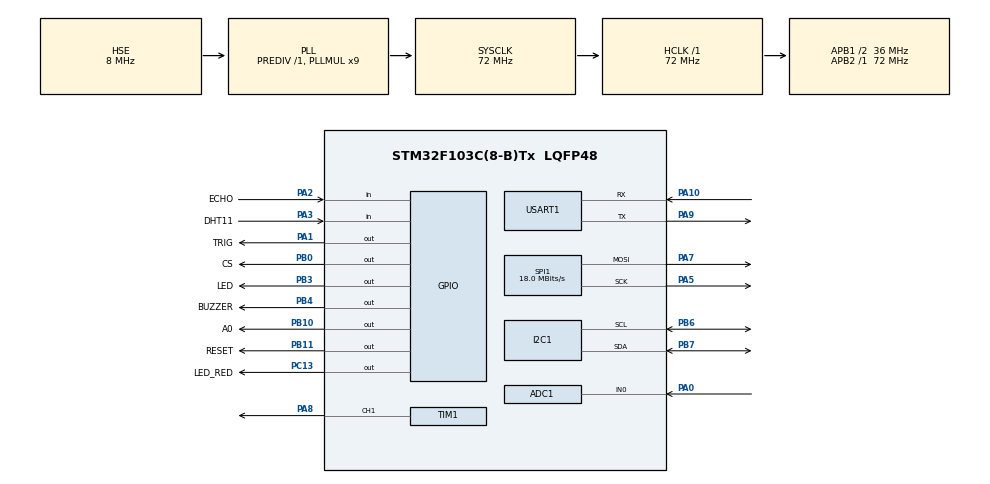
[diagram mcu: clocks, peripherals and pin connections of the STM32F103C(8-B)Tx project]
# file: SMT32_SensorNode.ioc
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ADC1.Channel-0\#ChannelRegularConversion=ADC_CHANNEL_0
ADC1.NbrOfConversionFlag=1
ADC1.Rank-0\#ChannelRegularConversion=1
ADC1.SamplingTime-0\#ChannelRegularConversion=ADC_SAMPLETIME_55CYCLES_5
ADC1.master=1
Mcu.Family=STM32F1
Mcu.Name=STM32F103C(8-B)Tx
Mcu.Package=LQFP48
NVIC.PriorityGroup=NVIC_PRIORITYGROUP_4
NVIC.TIM4_IRQn=true\:15\:0\:false\:false\:true\:false\:true\:true
NVIC.TimeBase=TIM4_IRQn
NVIC.TimeBaseIP=TIM4
PA0-WKUP.Signal=ADCx_IN0
PA1.GPIO_Label=TRIG
PA1.Signal=GPIO_Output
PA10.Mode=Asynchronous
PA10.Signal=USART1_RX
PA13.Mode=Serial_Wire
PA13.Signal=SYS_JTMS-SWDIO
PA14.Mode=Serial_Wire
PA14.Signal=SYS_JTCK-SWCLK
PA2.GPIO_Label=ECHO
PA2.Signal=GPIO_Input
PA3.GPIO_Label=DHT11
PA3.Signal=GPIO_Input
PA5.Mode=TX_Only_Simplex_Unidirect_Master
PA5.Signal=SPI1_SCK
PA7.Mode=TX_Only_Simplex_Unidirect_Master
PA7.Signal=SPI1_MOSI
PA8.Signal=S_TIM1_CH1
PA9.Mode=Asynchronous
PA9.Signal=USART1_TX
PB0.GPIO_Label=CS
PB0.Signal=GPIO_Output
PB10.GPIO_Label=A0
PB10.Signal=GPIO_Output
PB11.GPIO_Label=RESET
PB11.Signal=GPIO_Output
PB3.GPIO_Label=LED
PB3.Signal=GPIO_Output
PB4.GPIO_Label=BUZZER
PB4.Signal=GPIO_Output
PB6.Mode=I2C
PB6.Signal=I2C1_SCL
PB7.Mode=I2C
PB7.Signal=I2C1_SDA
PC13-TAMPER-RTC.GPIO_Label=LED_RED
PC13-TAMPER-RTC.Signal=GPIO_Output
PD0-OSC_IN.Mode=HSE-External-Oscillator
PD0-OSC_IN.Signal=RCC_OSC_IN
PD1-OSC_OUT.Mode=HSE-External-Oscillator
PD1-OSC_OUT.Signal=RCC_OSC_OUT
ProjectManager.HeapSize=0x200
ProjectManager.StackSize=0x400
ProjectManager.TargetToolchain=MDK-ARM V5.32
RCC.ADCPresc=RCC_ADCPCLK2_DIV8
RCC.AHBFreq_Value=72000000
RCC.APB1CLKDivider=RCC_HCLK_DIV2
RCC.APB1Freq_Value=36000000
RCC.APB1TimFreq_Value=72000000
RCC.APB2Freq_Value=72000000
RCC.APB2TimFreq_Value=72000000
RCC.HCLKFreq_Value=72000000
RCC.PLLMUL=RCC_PLL_MUL9
RCC.PLLSourceVirtual=RCC_PLLSOURCE_HSE
RCC.SYSCLKFreq_VALUE=72000000
RCC.SYSCLKSource=RCC_SYSCLKSOURCE_PLLCLK
RCC.USBFreq_Value=72000000
SH.ADCx_IN0.0=ADC1_IN0,IN0
SH.S_TIM1_CH1.0=TIM1_CH1,PWM Generation1 CH1
SPI1.BaudRatePrescaler=SPI_BAUDRATEPRESCALER_4
SPI1.CalculateBaudRate=18.0 MBits/s
SPI1.Direction=SPI_DIRECTION_2LINES
SPI1.Mode=SPI_MODE_MASTER
SPI1.VirtualType=VM_MASTER
TIM1.Channel-PWM\ Generation1\ CH1=TIM_CHANNEL_1
TIM1.Prescaler=71
TIM2.Period=65535
TIM2.Prescaler=71
USART1.VirtualMode=VM_ASYNC
VP_SYS_VS_tim4.Mode=TIM4
VP_TIM1_VS_ClockSourceINT.Mode=Internal
VP_TIM2_VS_ClockSourceINT.Mode=Internal
board=custom

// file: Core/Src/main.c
/* USER CODE BEGIN Header */
/**
  ******************************************************************************
  * @file           : main.c
  * @brief          : Main program body
  ******************************************************************************
  * @attention
  *
  * Copyright (c) 2026 STMicroelectronics.
  * All rights reserved.
  *
  * This software is licensed under terms that can be found in the LICENSE file
  * in the root directory of this software component.
  * If no LICENSE file comes with this software, it is provided AS-IS.
  *
  ******************************************************************************
  */
/* USER CODE END Header */
#include "main.h"

/* USER CODE BEGIN Includes */
#include <stdio.h>
#include "FreeRTOS.h"
#include "semphr.h"
#include "task.h"
#include "BSP_Delay.h"
#include "DHT11.h"
#include "Debug_UART.h"
#include "Light_Sensor.h"
#include "HCSR05.h"
#include "Servo.h"
#include "LCD.h"
#include "TFT.h"
#include "string.h"
#include "door_open.h"
//#include "door_close.h"
/* USER CODE END Includes */

/* USER CODE BEGIN PTD */
typedef struct
{
    uint8_t temperature;
    uint8_t humidity;
    uint16_t light;
    uint16_t distance;
} SensorData_t;
/* USER CODE END PTD */

/* USER CODE BEGIN PD */
#define LED_ON 		0
#define LED_OFF 	1
/* USER CODE END PD */

ADC_HandleTypeDef hadc1;

I2C_HandleTypeDef hi2c1;

SPI_HandleTypeDef hspi1;

TIM_HandleTypeDef htim1;
TIM_HandleTypeDef htim2;

UART_HandleTypeDef huart1;

/* USER CODE BEGIN PV */
DHT11_Data_t dhtData;
SemaphoreHandle_t uartMutex;
QueueHandle_t sensorQueue;
QueueHandle_t displayQueue;
/* USER CODE END PV */

void SystemClock_Config(void);
static void MX_GPIO_Init(void);
static void MX_ADC1_Init(void);
static void MX_USART1_UART_Init(void);
static void MX_TIM2_Init(void);
static void MX_I2C1_Init(void);
static void MX_SPI1_Init(void);
static void MX_TIM1_Init(void);
/* USER CODE BEGIN PFP */
void BlinkLED_Task(void *argument);

/* USER CODE END PFP */

/* USER CODE BEGIN 0 */

void Sensor_Task(void *argument)
{
	SensorData_t data;

	DHT11_Init(DHT11_GPIO_Port, DHT11_Pin);
	LightSensor_Init(&hadc1);
	HCSR05_INIT(TRIG_GPIO_Port, TRIG_Pin, ECHO_GPIO_Port, ECHO_Pin);

	while(1)
	{
		if(DHT11_Read(&dhtData))
		{
			data.temperature = dhtData.temperature;
			data.humidity    = dhtData.humidity;
		}

		data.light    = LightSensor_ReadRaw();
		data.distance = HCSR05_GetDis();

		xQueueOverwrite(sensorQueue, &data);
		xQueueOverwrite(displayQueue, &data);
		vTaskDelay(pdMS_TO_TICKS(3000));
	}
}

void Process_Task(void *argument)
{
	SensorData_t data;
	Servo_Init(&htim1, TIM_CHANNEL_1);

	while(1)
	{
		if(xQueueReceive(sensorQueue, &data, portMAX_DELAY))
		{
		// =====  Door Control =====
			if(data.distance < 10)
			{
					Servo_SetAngle(90);
			}
			else
			{
					Servo_SetAngle(0);
			}

			// =====  Buzzer =====
			if(data.temperature > 35)
			{
				HAL_GPIO_WritePin(BUZZER_GPIO_Port, BUZZER_Pin, GPIO_PIN_SET);
			}
			else
			{
				HAL_GPIO_WritePin(BUZZER_GPIO_Port, BUZZER_Pin, GPIO_PIN_RESET);
			}

			// ===== Light control =====
			if(data.distance < 10 && data.light > 3200)
			{
				HAL_GPIO_WritePin(LED_GPIO_Port, LED_Pin, LED_ON);
			}
			else
			{
				HAL_GPIO_WritePin(LED_GPIO_Port, LED_Pin, LED_OFF);
			}
		}
	}
}
void Display_Task(void *argument)
{
	SensorData_t data;
	char buffer[32];

	LCD_Init();
	CS_Init();
	TFT_Init();

	while(1)
	{
		if(xQueueReceive(displayQueue, &data, portMAX_DELAY))
		{
				// ===== LCD =====
				LCD_MoveCursor(0,0);
				sprintf(buffer,"T:%dC H:%d%%   ",
								data.temperature,
								data.humidity);
				LCD_Print(buffer);

				LCD_MoveCursor(1,0);

				if(data.light < 1200)
						LCD_Print("Mode: Bright ");
				else if(data.light < 3200)
						LCD_Print("Mode: Medium ");
				else
						LCD_Print("Mode: Dark   ");

				// ===== TFT DOOR =====
				TFT_FillScreen(0x0000);

				if(data.distance < 10)
				{
						TFT_DrawBitmap(20,1, 80,158, door_open);
				}
//      else
//      {
//        TFT_DrawBitmap(0,0, 90, 147, door_close);
//      }
		}
	}
}
void BlinkLED_Task(void *argument)
{
	while(1)
	{
		HAL_GPIO_TogglePin(LED_RED_GPIO_Port,LED_RED_Pin);
		vTaskDelay(pdMS_TO_TICKS(1000));
	}
}

/* USER CODE END 0 */

int main(void)
{

  /* MCU Configuration--------------------------------------------------------*/

  /* Reset of all peripherals, Initializes the Flash interface and the Systick. */
  HAL_Init();

  /* Configure the system clock */
  SystemClock_Config();

  /* USER CODE BEGIN SysInit */
    uartMutex = xSemaphoreCreateMutex();
  /* USER CODE END SysInit */

  /* Initialize all configured peripherals */
  MX_GPIO_Init();
  MX_ADC1_Init();
  MX_USART1_UART_Init();
  MX_TIM2_Init();
  MX_I2C1_Init();
  MX_SPI1_Init();
  MX_TIM1_Init();
  /* USER CODE BEGIN 2 */
	BSP_Delay_Init();
	Debug_Init(&huart1, uartMutex);
	sensorQueue  = xQueueCreate(5, sizeof(SensorData_t));
	displayQueue = xQueueCreate(5, sizeof(SensorData_t));

	xTaskCreate(BlinkLED_Task, "BlinkLED", 128, NULL, 2,NULL);

	xTaskCreate(Sensor_Task,  "Sensor",  256, NULL, 2, NULL);
	xTaskCreate(Process_Task, "Process", 256, NULL, 2, NULL);
	xTaskCreate(Display_Task, "Display", 512, NULL, 2, NULL);
	vTaskStartScheduler();
  /* USER CODE END 2 */

  /* Infinite loop */
  while (1)
  {

  }
}

void SystemClock_Config(void)
{
  RCC_OscInitTypeDef RCC_OscInitStruct = {0};
  RCC_ClkInitTypeDef RCC_ClkInitStruct = {0};
  RCC_PeriphCLKInitTypeDef PeriphClkInit = {0};

  /** Initializes the RCC Oscillators according to the specified parameters
  * in the RCC_OscInitTypeDef structure.
  */
  RCC_OscInitStruct.OscillatorType = RCC_OSCILLATORTYPE_HSE;
  RCC_OscInitStruct.HSEState = RCC_HSE_ON;
  RCC_OscInitStruct.HSEPredivValue = RCC_HSE_PREDIV_DIV1;
  RCC_OscInitStruct.HSIState = RCC_HSI_ON;
  RCC_OscInitStruct.PLL.PLLState = RCC_PLL_ON;
  RCC_OscInitStruct.PLL.PLLSource = RCC_PLLSOURCE_HSE;
  RCC_OscInitStruct.PLL.PLLMUL = RCC_PLL_MUL9;
  if (HAL_RCC_OscConfig(&RCC_OscInitStruct) != HAL_OK)
  {
    Error_Handler();
  }

  /** Initializes the CPU, AHB and APB buses clocks
  */
  RCC_ClkInitStruct.ClockType = RCC_CLOCKTYPE_HCLK|RCC_CLOCKTYPE_SYSCLK
                              |RCC_CLOCKTYPE_PCLK1|RCC_CLOCKTYPE_PCLK2;
  RCC_ClkInitStruct.SYSCLKSource = RCC_SYSCLKSOURCE_PLLCLK;
  RCC_ClkInitStruct.AHBCLKDivider = RCC_SYSCLK_DIV1;
  RCC_ClkInitStruct.APB1CLKDivider = RCC_HCLK_DIV2;
  RCC_ClkInitStruct.APB2CLKDivider = RCC_HCLK_DIV1;

  if (HAL_RCC_ClockConfig(&RCC_ClkInitStruct, FLASH_LATENCY_2) != HAL_OK)
  {
    Error_Handler();
  }
  PeriphClkInit.PeriphClockSelection = RCC_PERIPHCLK_ADC;
  PeriphClkInit.AdcClockSelection = RCC_ADCPCLK2_DIV8;
  if (HAL_RCCEx_PeriphCLKConfig(&PeriphClkInit) != HAL_OK)
  {
    Error_Handler();
  }
}

static void MX_ADC1_Init(void)
{

  ADC_ChannelConfTypeDef sConfig = {0};

  /** Common config
  */
  hadc1.Instance = ADC1;
  hadc1.Init.ScanConvMode = ADC_SCAN_DISABLE;
  hadc1.Init.ContinuousConvMode = DISABLE;
  hadc1.Init.DiscontinuousConvMode = DISABLE;
  hadc1.Init.ExternalTrigConv = ADC_SOFTWARE_START;
  hadc1.Init.DataAlign = ADC_DATAALIGN_RIGHT;
  hadc1.Init.NbrOfConversion = 1;
  if (HAL_ADC_Init(&hadc1) != HAL_OK)
  {
    Error_Handler();
  }

  /** Configure Regular Channel
  */
  sConfig.Channel = ADC_CHANNEL_0;
  sConfig.Rank = ADC_REGULAR_RANK_1;
  sConfig.SamplingTime = ADC_SAMPLETIME_55CYCLES_5;
  if (HAL_ADC_ConfigChannel(&hadc1, &sConfig) != HAL_OK)
  {
    Error_Handler();
  }

}

static void MX_I2C1_Init(void)
{

  hi2c1.Instance = I2C1;
  hi2c1.Init.ClockSpeed = 100000;
  hi2c1.Init.DutyCycle = I2C_DUTYCYCLE_2;
  hi2c1.Init.OwnAddress1 = 0;
  hi2c1.Init.AddressingMode = I2C_ADDRESSINGMODE_7BIT;
  hi2c1.Init.DualAddressMode = I2C_DUALADDRESS_DISABLE;
  hi2c1.Init.OwnAddress2 = 0;
  hi2c1.Init.GeneralCallMode = I2C_GENERALCALL_DISABLE;
  hi2c1.Init.NoStretchMode = I2C_NOSTRETCH_DISABLE;
  if (HAL_I2C_Init(&hi2c1) != HAL_OK)
  {
    Error_Handler();
  }

}

static void MX_SPI1_Init(void)
{

  /* SPI1 parameter configuration*/
  hspi1.Instance = SPI1;
  hspi1.Init.Mode = SPI_MODE_MASTER;
  hspi1.Init.Direction = SPI_DIRECTION_2LINES;
  hspi1.Init.DataSize = SPI_DATASIZE_8BIT;
  hspi1.Init.CLKPolarity = SPI_POLARITY_LOW;
  hspi1.Init.CLKPhase = SPI_PHASE_1EDGE;
  hspi1.Init.NSS = SPI_NSS_SOFT;
  hspi1.Init.BaudRatePrescaler = SPI_BAUDRATEPRESCALER_4;
  hspi1.Init.FirstBit = SPI_FIRSTBIT_MSB;
  hspi1.Init.TIMode = SPI_TIMODE_DISABLE;
  hspi1.Init.CRCCalculation = SPI_CRCCALCULATION_DISABLE;
  hspi1.Init.CRCPolynomial = 10;
  if (HAL_SPI_Init(&hspi1) != HAL_OK)
  {
    Error_Handler();
  }

}

static void MX_TIM1_Init(void)
{

  TIM_ClockConfigTypeDef sClockSourceConfig = {0};
  TIM_MasterConfigTypeDef sMasterConfig = {0};
  TIM_OC_InitTypeDef sConfigOC = {0};
  TIM_BreakDeadTimeConfigTypeDef sBreakDeadTimeConfig = {0};

  htim1.Instance = TIM1;
  htim1.Init.Prescaler = 71;
  htim1.Init.CounterMode = TIM_COUNTERMODE_UP;
  htim1.Init.Period = 65535;
  htim1.Init.ClockDivision = TIM_CLOCKDIVISION_DIV1;
  htim1.Init.RepetitionCounter = 0;
  htim1.Init.AutoReloadPreload = TIM_AUTORELOAD_PRELOAD_DISABLE;
  if (HAL_TIM_Base_Init(&htim1) != HAL_OK)
  {
    Error_Handler();
  }
  sClockSourceConfig.ClockSource = TIM_CLOCKSOURCE_INTERNAL;
  if (HAL_TIM_ConfigClockSource(&htim1, &sClockSourceConfig) != HAL_OK)
  {
    Error_Handler();
  }
  if (HAL_TIM_PWM_Init(&htim1) != HAL_OK)
  {
    Error_Handler();
  }
  sMasterConfig.MasterOutputTrigger = TIM_TRGO_RESET;
  sMasterConfig.MasterSlaveMode = TIM_MASTERSLAVEMODE_DISABLE;
  if (HAL_TIMEx_MasterConfigSynchronization(&htim1, &sMasterConfig) != HAL_OK)
  {
    Error_Handler();
  }
  sConfigOC.OCMode = TIM_OCMODE_PWM1;
  sConfigOC.Pulse = 0;
  sConfigOC.OCPolarity = TIM_OCPOLARITY_HIGH;
  sConfigOC.OCNPolarity = TIM_OCNPOLARITY_HIGH;
  sConfigOC.OCFastMode = TIM_OCFAST_DISABLE;
  sConfigOC.OCIdleState = TIM_OCIDLESTATE_RESET;
  sConfigOC.OCNIdleState = TIM_OCNIDLESTATE_RESET;
  if (HAL_TIM_PWM_ConfigChannel(&htim1, &sConfigOC, TIM_CHANNEL_1) != HAL_OK)
  {
    Error_Handler();
  }
  sBreakDeadTimeConfig.OffStateRunMode = TIM_OSSR_DISABLE;
  sBreakDeadTimeConfig.OffStateIDLEMode = TIM_OSSI_DISABLE;
  sBreakDeadTimeConfig.LockLevel = TIM_LOCKLEVEL_OFF;
  sBreakDeadTimeConfig.DeadTime = 0;
  sBreakDeadTimeConfig.BreakState = TIM_BREAK_DISABLE;
  sBreakDeadTimeConfig.BreakPolarity = TIM_BREAKPOLARITY_HIGH;
  sBreakDeadTimeConfig.AutomaticOutput = TIM_AUTOMATICOUTPUT_DISABLE;
  if (HAL_TIMEx_ConfigBreakDeadTime(&htim1, &sBreakDeadTimeConfig) != HAL_OK)
  {
    Error_Handler();
  }
  HAL_TIM_MspPostInit(&htim1);

}

static void MX_TIM2_Init(void)
{

  TIM_ClockConfigTypeDef sClockSourceConfig = {0};
  TIM_MasterConfigTypeDef sMasterConfig = {0};

  htim2.Instance = TIM2;
  htim2.Init.Prescaler = 71;
  htim2.Init.CounterMode = TIM_COUNTERMODE_UP;
  htim2.Init.Period = 65535;
  htim2.Init.ClockDivision = TIM_CLOCKDIVISION_DIV1;
  htim2.Init.AutoReloadPreload = TIM_AUTORELOAD_PRELOAD_DISABLE;
  if (HAL_TIM_Base_Init(&htim2) != HAL_OK)
  {
    Error_Handler();
  }
  sClockSourceConfig.ClockSource = TIM_CLOCKSOURCE_INTERNAL;
  if (HAL_TIM_ConfigClockSource(&htim2, &sClockSourceConfig) != HAL_OK)
  {
    Error_Handler();
  }
  sMasterConfig.MasterOutputTrigger = TIM_TRGO_RESET;
  sMasterConfig.MasterSlaveMode = TIM_MASTERSLAVEMODE_DISABLE;
  if (HAL_TIMEx_MasterConfigSynchronization(&htim2, &sMasterConfig) != HAL_OK)
  {
    Error_Handler();
  }

}

static void MX_USART1_UART_Init(void)
{

  huart1.Instance = USART1;
  huart1.Init.BaudRate = 115200;
  huart1.Init.WordLength = UART_WORDLENGTH_8B;
  huart1.Init.StopBits = UART_STOPBITS_1;
  huart1.Init.Parity = UART_PARITY_NONE;
  huart1.Init.Mode = UART_MODE_TX_RX;
  huart1.Init.HwFlowCtl = UART_HWCONTROL_NONE;
  huart1.Init.OverSampling = UART_OVERSAMPLING_16;
  if (HAL_UART_Init(&huart1) != HAL_OK)
  {
    Error_Handler();
  }

}

static void MX_GPIO_Init(void)
{
  GPIO_InitTypeDef GPIO_InitStruct = {0};

  /* GPIO Ports Clock Enable */
  __HAL_RCC_GPIOC_CLK_ENABLE();
  __HAL_RCC_GPIOD_CLK_ENABLE();
  __HAL_RCC_GPIOA_CLK_ENABLE();
  __HAL_RCC_GPIOB_CLK_ENABLE();

  /*Configure GPIO pin Output Level */
  HAL_GPIO_WritePin(LED_RED_GPIO_Port, LED_RED_Pin, GPIO_PIN_RESET);

  /*Configure GPIO pin Output Level */
  HAL_GPIO_WritePin(TRIG_GPIO_Port, TRIG_Pin, GPIO_PIN_RESET);

  /*Configure GPIO pin Output Level */
  HAL_GPIO_WritePin(GPIOB, CS_Pin|A0_Pin|RESET_Pin|LED_Pin
                          |BUZZER_Pin, GPIO_PIN_RESET);

  /*Configure GPIO pin : LED_RED_Pin */
  GPIO_InitStruct.Pin = LED_RED_Pin;
  GPIO_InitStruct.Mode = GPIO_MODE_OUTPUT_PP;
  GPIO_InitStruct.Pull = GPIO_NOPULL;
  GPIO_InitStruct.Speed = GPIO_SPEED_FREQ_LOW;
  HAL_GPIO_Init(LED_RED_GPIO_Port, &GPIO_InitStruct);

  /*Configure GPIO pin : TRIG_Pin */
  GPIO_InitStruct.Pin = TRIG_Pin;
  GPIO_InitStruct.Mode = GPIO_MODE_OUTPUT_PP;
  GPIO_InitStruct.Pull = GPIO_NOPULL;
  GPIO_InitStruct.Speed = GPIO_SPEED_FREQ_LOW;
  HAL_GPIO_Init(TRIG_GPIO_Port, &GPIO_InitStruct);

  /*Configure GPIO pins : ECHO_Pin DHT11_Pin */
  GPIO_InitStruct.Pin = ECHO_Pin|DHT11_Pin;
  GPIO_InitStruct.Mode = GPIO_MODE_INPUT;
  GPIO_InitStruct.Pull = GPIO_NOPULL;
  HAL_GPIO_Init(GPIOA, &GPIO_InitStruct);

  /*Configure GPIO pins : CS_Pin A0_Pin RESET_Pin LED_Pin
                           BUZZER_Pin */
  GPIO_InitStruct.Pin = CS_Pin|A0_Pin|RESET_Pin|LED_Pin
                          |BUZZER_Pin;
  GPIO_InitStruct.Mode = GPIO_MODE_OUTPUT_PP;
  GPIO_InitStruct.Pull = GPIO_NOPULL;
  GPIO_InitStruct.Speed = GPIO_SPEED_FREQ_LOW;
  HAL_GPIO_Init(GPIOB, &GPIO_InitStruct);

}

void HAL_TIM_PeriodElapsedCallback(TIM_HandleTypeDef *htim)
{
  if (htim->Instance == TIM4)
  {
    HAL_IncTick();
  }
}

void Error_Handler(void)
{
  __disable_irq();
  while (1)
  {
  }
}
